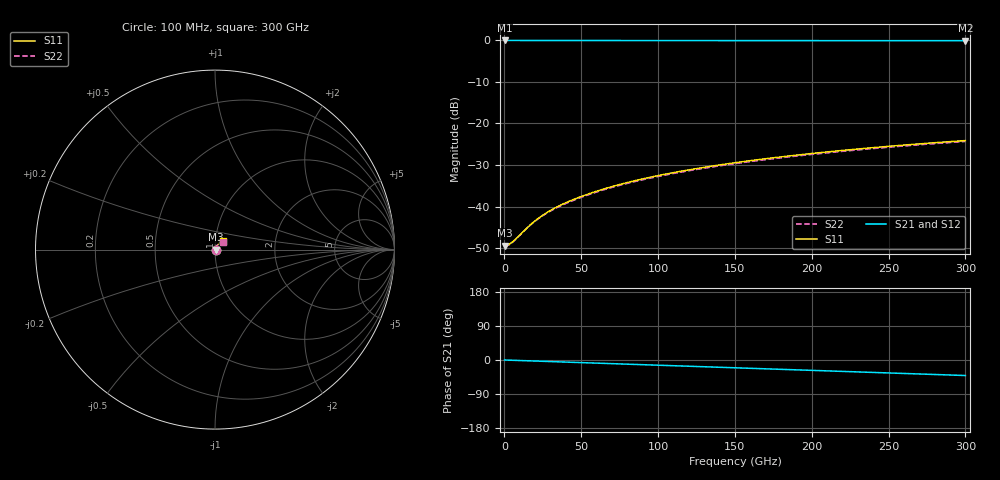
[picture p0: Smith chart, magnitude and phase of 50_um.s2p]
! Created with skrf (http://scikit-rf.org).
# Hz S RI R 50.0
!freq ReS11 ImS11 ReS21 ImS21 ReS12 ImS12 ReS22 ImS22
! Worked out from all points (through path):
!   3000 points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, 100 MHz to 300 GHz, reference 50 ohm
!   highest |S21| = -0.03 dB at 100 MHz (marker M1); lowest = -0.1 dB at 300 GHz (marker M2)
!   group delay of S21, straight-line fit = 379 fs
!   lowest |S11| = -49.4 dB at 100 MHz (marker M3), VSWR 1.01, Z = 50.3 + j0.00282 ohm
!   |S11| at or under -10 dB: start of sweep to end of sweep
!   |S22| runs from -49.5 to -24.3 dB; largest |S21 - S12| = 0.00061
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1e8  0.0034 2.8e-05  0.9966 -0.000246  0.9967 -0.000247  0.00334 2.81e-05
2.5e9  0.00341 0.000699  0.9966 -0.00614  0.9966 -0.00616  0.00335 0.000701
5.2e9  0.00346 0.00145  0.9965 -0.0128  0.9965 -0.0128  0.00341 0.00145
7.5e9  0.00353 0.00208  0.9963 -0.0184  0.9964 -0.0185  0.00349 0.00208
1.32e10  0.00377 0.0036  0.9958 -0.0323  0.9958 -0.0324  0.00377 0.00357
1.68e10  0.00398 0.00451  0.9953 -0.041  0.9952 -0.041  0.004 0.00445
2.11e10  0.00426 0.00555  0.9946 -0.0513  0.9945 -0.0514  0.00429 0.00545
2.56e10  0.00457 0.00659  0.9938 -0.0621  0.9937 -0.0621  0.00461 0.00643
3.07e10  0.00494 0.0077  0.9927 -0.0742  0.9927 -0.0742  0.00497 0.00749
3.64e10  0.00535 0.00889  0.9914 -0.0877  0.9915 -0.0876  0.00535 0.00864
4.28e10  0.0058 0.0102  0.9898 -0.1028  0.9898 -0.1027  0.00578 0.0099
5.01e10  0.00632 0.0116  0.9877 -0.1199  0.9877 -0.12  0.00628 0.0113
6.09e10  0.00712 0.0138  0.984 -0.1453  0.984 -0.1453  0.00708 0.0134
7.25e10  0.00806 0.016  0.9793 -0.1724  0.9793 -0.1724  0.00805 0.0156
8.57e10  0.00926 0.0185  0.973 -0.203  0.9731 -0.203  0.00923 0.0179
1.001e11  0.0107 0.021  0.9652 -0.2361  0.9653 -0.2362  0.0106 0.0204
1.235e11  0.0133 0.025  0.9501 -0.2893  0.9501 -0.2894  0.0132 0.0243
1.501e11  0.0166 0.0293  0.9294 -0.3486  0.9295 -0.3487  0.0165 0.0284
1.738e11  0.02 0.0328  0.9079 -0.4002  0.908 -0.4003  0.0199 0.0318
2.001e11  0.0241 0.0362  0.8806 -0.4559  0.8808 -0.456  0.0239 0.0351
2.501e11  0.0329 0.0416  0.8195 -0.5566  0.8197 -0.5569  0.0327 0.0402
3e11  0.0428 0.0451  0.7471 -0.6489  0.7473 -0.6494  0.0424 0.0435
